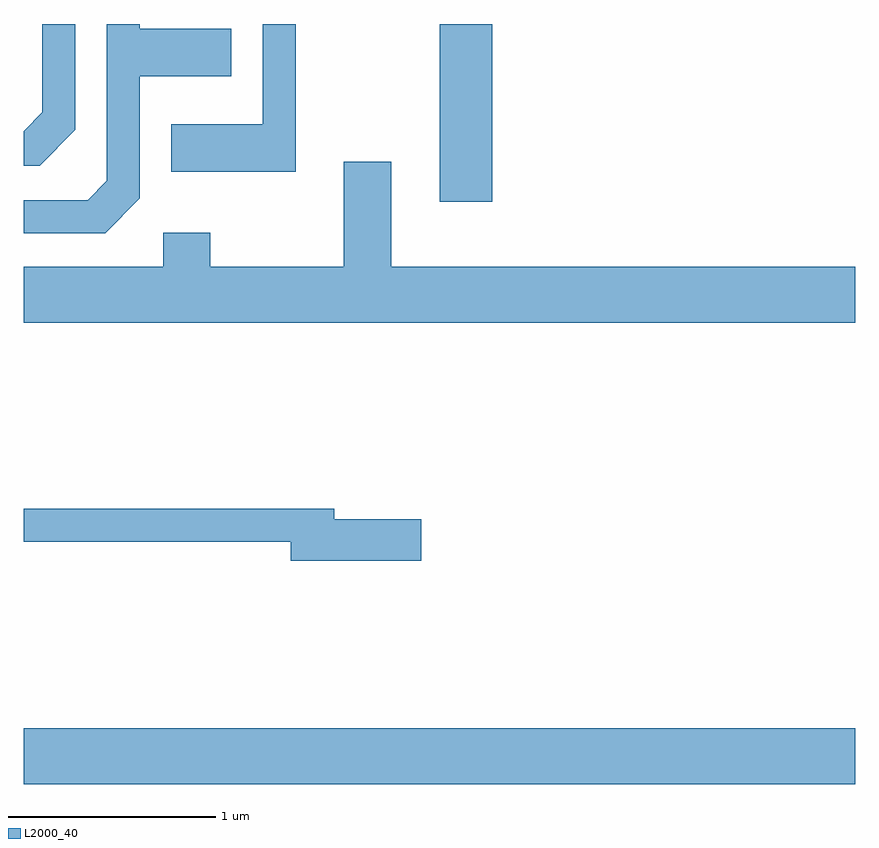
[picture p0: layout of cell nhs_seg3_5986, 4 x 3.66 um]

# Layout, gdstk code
import gdstk
lib = gdstk.Library(unit=1e-6, precision=1e-09)
def R(c, l, rs):  # rectangles x0, y0, x1, y1
    for r in rs: c.add(gdstk.rectangle(r[:2], r[2:], *l))
def P(c, l, *ps):  # polygons
    for p in ps: c.add(gdstk.Polygon(p, *l))
L2000_40 = (2000, 40)

nhs_seg3_5986 = lib.new_cell('nhs_seg3_5986')
R(nhs_seg3_5986, L2000_40, [(361.611,1128.236,365.611,1128.504), (363.611,1131.036,363.864,1131.892)])
P(nhs_seg3_5986, L2000_40, [(361.859,1131.384),(361.859,1131.892),(361.701,1131.892),(361.701,1131.467),(361.611,1131.376),(361.611,1131.211),(361.687,1131.211)],
  [(362.919,1131.892),(362.761,1131.892),(362.761,1131.409),(362.321,1131.409),(362.321,1131.181),(362.919,1131.181)],
  [(362.169,1131.054),(362.169,1131.641),(362.609,1131.641),(362.609,1131.869),(362.169,1131.869),(362.169,1131.892),(362.011,1131.892),(362.011,1131.137),(361.919,1131.044),(361.611,1131.044),(361.611,1130.886),(362.002,1130.886)],
  [(365.611,1130.724),(363.379,1130.724),(363.379,1131.229),(363.151,1131.229),(363.151,1130.724),(362.509,1130.724),(362.509,1130.889),(362.281,1130.889),(362.281,1130.724),(361.611,1130.724),(361.611,1130.456),(365.611,1130.456)],
  [(363.524,1129.509),(363.104,1129.509),(363.104,1129.559),(361.611,1129.559),(361.611,1129.401),(362.896,1129.401),(362.896,1129.311),(363.524,1129.311)])

lib.write_gds('nhs_seg3_5986.gds')
